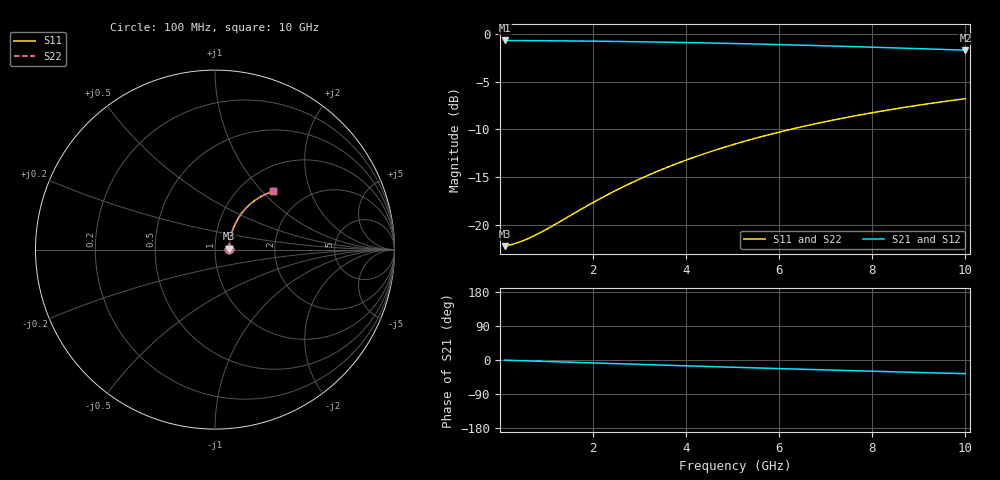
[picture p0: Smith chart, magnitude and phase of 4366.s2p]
# Hz S RI R 50.00
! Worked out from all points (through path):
!   100 points, 100 MHz to 10 GHz, reference 50 ohm
!   highest |S21| = -0.70 dB at 100 MHz (marker M1); lowest = -1.7 dB at 10 GHz (marker M2)
!   group delay of S21, straight-line fit = 10.1 ps
!   lowest |S11| = -22.2 dB at 100 MHz (marker M3), VSWR 1.17, Z = 58.4 + j0.554 ohm
!   |S11| at or under -10 dB: start of sweep to 6.242 GHz
!   |S22| runs from -22.2 to -6.8 dB; largest |S21 - S12| = 0
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1e8  0.0774 0.00472  0.9226 -0.00629  0.9226 -0.00629  0.0774 0.00472
3e8  0.0784 0.0141  0.9215 -0.0188  0.9215 -0.0188  0.0784 0.0141
4e8  0.0789 0.0188  0.921 -0.0251  0.921 -0.0251  0.0789 0.0188
5e8  0.0795 0.0235  0.9205 -0.0313  0.9205 -0.0313  0.0795 0.0235
7e8  0.0806 0.0328  0.9193 -0.0438  0.9193 -0.0438  0.0806 0.0328
9e8  0.082 0.0421  0.9179 -0.0562  0.9179 -0.0562  0.082 0.0421
1.1e9  0.0835 0.0514  0.9163 -0.0686  0.9163 -0.0686  0.0835 0.0514
1.8e9  0.0907 0.0832  0.9089 -0.1115  0.9089 -0.1115  0.0907 0.0832
2.2e9  0.096 0.101  0.9034 -0.1355  0.9034 -0.1355  0.096 0.101
2.6e9  0.1022 0.1184  0.8969 -0.1592  0.8969 -0.1592  0.1022 0.1184
3e9  0.1092 0.1353  0.8896 -0.1825  0.8896 -0.1825  0.1092 0.1353
3.4e9  0.1171 0.1518  0.8814 -0.2052  0.8814 -0.2052  0.1171 0.1518
3.8e9  0.1258 0.1676  0.8723 -0.2274  0.8723 -0.2274  0.1258 0.1676
4.2e9  0.1352 0.1829  0.8625 -0.249  0.8625 -0.249  0.1352 0.1829
4.6e9  0.1453 0.1976  0.8519 -0.27  0.8519 -0.27  0.1453 0.1976
5.1e9  0.1588 0.215  0.8378 -0.2953  0.8378 -0.2953  0.1588 0.215
5.9e9  0.1823 0.2405  0.8131 -0.3336  0.8131 -0.3336  0.1823 0.2405
6.7e9  0.2077 0.2631  0.7864 -0.3689  0.7864 -0.3689  0.2077 0.2631
7.5e9  0.2345 0.2826  0.7581 -0.4013  0.7581 -0.4013  0.2345 0.2826
8.4e9  0.2659 0.3009  0.7248 -0.4341  0.7248 -0.4341  0.2659 0.3009
9.2e9  0.2945 0.314  0.6943 -0.4601  0.6943 -0.4601  0.2945 0.314
1e10  0.3234 0.3241  0.6634 -0.4832  0.6634 -0.4832  0.3234 0.3241
